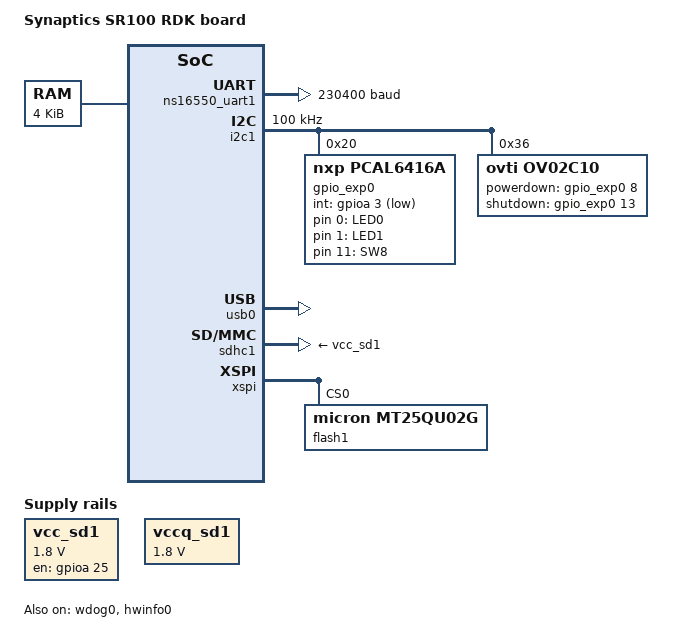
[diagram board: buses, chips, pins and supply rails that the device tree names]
/*
 * Copyright (c) 2025 Synaptics Incorporated
 *
 * SPDX-License-Identifier: Apache-2.0
 */

/dts-v1/;
#include <syna/astra_sr/sr100_m55.dtsi>
#include <syna/astra_sr/sr100_pinctrl.dtsi>
#include <zephyr/dt-bindings/gpio/gpio.h>
#include <zephyr/dt-bindings/input/input-event-codes.h>

/ {
	model = "Synaptics SR100 RDK board";
	compatible = "syna,sr100-rdk";

	chosen {
		zephyr,console = &ns16550_uart1;
		zephyr,shell-uart = &ns16550_uart1;
		zephyr,sram = &sram0;
		zephyr,flash = &itcm0;
		zephyr,flash-controller = &xspi;
		zephyr,code-partition = &itcm0;
	};

	aliases {
		led0 = &led0;
		led-controller-0 = &led_controller_0;
		sw0 = &user_button;
		sdhc1 = &sdhc1;
	};

	led_controller_0: gpio-leds {
		compatible = "gpio-leds";

		led0: led_0 {
			gpios = <&gpio_exp0 0 GPIO_ACTIVE_HIGH>;
			label = "LED0";
		};

		led1: led_1 {
			gpios = <&gpio_exp0 1 GPIO_ACTIVE_HIGH>;
			label = "LED1";
		};
	};

	buttons: keys {
		compatible = "gpio-keys";

		user_button: user_button {
			label = "SW8";
			gpios = <&gpio_exp0 11 GPIO_ACTIVE_HIGH>;
			zephyr,code = <INPUT_KEY_0>;
		};
	};

	vcc_sd1: regulator-vcc-sd1 {
		compatible = "regulator-fixed";

		regulator-name = "SD1 Vcc";
		regulator-min-microvolt = <1800000>;
		regulator-max-microvolt = <1800000>;

		enable-gpios = <&gpioa 25 GPIO_ACTIVE_HIGH
				&gpio_exp0 7 GPIO_ACTIVE_HIGH>;
	};

	vccq_sd1: regulator-vccq-sd1 {
		compatible = "regulator-fixed";

		regulator-name = "SD1 VccQ";
		regulator-min-microvolt = <1800000>;
		regulator-max-microvolt = <1800000>;
	};

	video_syna0: video_syna {
		compatible = "syna,mipi-video";
		status = "okay";
		interrupt-parent = <&nvic>;
		interrupts = <45 3>;
		clocks = <&gcr SYNA_IMG_SYS_CLK>;

		datapath = <1>;
		num-lanes = <1>;
		interface-width = <0>; /* 0=48-bit, 1=16-bit */

		port {
			video_syna0_in: endpoint {
				remote-endpoint-label = "ov02c10_out";
			};
		};
	};

	ipc_memory: memory@3416f000 { /* End of LP_MEMB area */
		compatible = "zephyr,memory-region";
		reg = <0x3416f000 0x1000>;
		#address-cells = <1>;
		#size-cells = <1>;
		ranges = <0x0 0x3416f000 0x1000>;
		zephyr,memory-region = "IPC";
		zephyr,memory-attr = <DT_MEM_ARM_MPU_RAM_NOCACHE>;
	};

	mbox-consumer {
		compatible = "vnd,mbox-consumer";
		mboxes = <&ipc0 1>, <&ipc0 0>;
		mbox-names = "tx", "rx";
	};
};

&ns16550_uart0 {
	pinctrl-0 = <&uart0_tx_b &uart0_rx_b>;
	pinctrl-names = "default";
	current-speed = <115200>;
	dlf = <2>;
	status = "disabled";
};

&ns16550_uart1 {
	pinctrl-0 = <&uart1_tx_a &uart1_rx_a>;
	pinctrl-names = "default";
	current-speed = <230400>;
	dlf = <2>;
	status = "okay";
};

&i2c1_ms_scl_b {
	bias-pull-up;
};

&i2c1_ms_sda_b {
	bias-pull-up;
};

&i2c1 {
	status = "okay";
	pinctrl-0 = <&i2c1_ms_scl_b &i2c1_ms_sda_b>;
	pinctrl-names = "default";
	clock-frequency = <I2C_BITRATE_STANDARD>;

	gpio_exp0: pca6416@20 {
		compatible = "nxp,pcal6416a";
		reg = <0x20>;
		gpio-controller;
		#gpio-cells = <2>;
		ngpios = <16>;
		int-gpios = <&gpioa 3 GPIO_ACTIVE_LOW>;
	};

	ov02c10: ov02c10@36 {
		compatible = "ovti,ov02c10";
		reg = <0x36>;
		status = "okay";

		pinctrl-0 = <&clkout_0>;
		pinctrl-names = "default";

		/* Camera sensor power and shutdown controls. */
		powerdown-gpios = <&gpio_exp0 8 GPIO_ACTIVE_HIGH>;
		shutdown-gpios = <&gpio_exp0 13 GPIO_ACTIVE_HIGH>;

		mclk-control-reg = <0x50330044>;
		mclk-control-val = <0x0000000b>;

		port {
			ov02c10_out: endpoint {
				remote-endpoint-label = "video_syna0_in";
			};
		};

		data-lanes = <1>;
	};

	mc3479: mc3419@4c {
		compatible = "memsic,mc3419";
		status = "disabled";
		reg = <0x4c>;
		int-gpios = <&gpio_exp0 4 0>;
		lpf-fc-sel = <0>;
	};
};

&spi0 {
	/* Note that the default pinmux configuration for this board uses GP23/GP24
	 * for UART1_TX/UART1_RX respectively, which conflicts with the
	 * spi_mstr_mosi/spi_mstr_miso muxes.
	 */
	pinctrl-0 = <&spi_mstr_mosi &spi_mstr_miso &spi_mstr_clk &spi_mstr_cs>;
	pinctrl-names = "default";
	status = "disabled";
};

&gpioa {
	status = "okay";
};

&gpiob {
	status = "okay";
};

zephyr_udc0: &usb0 {
	status = "okay";
};

&aon_event_gpio {
	pinctrl-0 = <&aon_gpo1>;
	pinctrl-names = "default";
	status = "okay";
};

&gpo1 {
	polarity = <GPIO_ACTIVE_HIGH>;
};

&wdog0 {
	status = "okay";
};

&sdhc1 {
	pinctrl-0 = <&sd1_cmd &sd1_clk &sd1_d0 &sd1_d1 &sd1_d2 &sd1_d3 &gpio_25>;
	pinctrl-names = "default";
	vmmc-supply = <&vcc_sd1>;
	vmmcq-supply = <&vccq_sd1>;
	max-bus-freq = <25000000>;
	status = "okay";
};

&sd1_cmd {
	bias-disable;
};

&sd1_clk {
	bias-disable;
};

&sd1_d0 {
	bias-disable;
};

&sd1_d1 {
	bias-disable;
};

&sd1_d2 {
	bias-disable;
};

&sd1_d3 {
	bias-disable;
};

&xspi {
	status = "okay";
	pinctrl-0 = <&xspi_data0 &xspi_data1 &xspi_data2 &xspi_data3 &xspi_dqs
		     &xspi_clk &xspi_clk_n &xspi_cs0>;
	pinctrl-names = "default";
	dmas = <&dma0 0>;

	flash1: mt25qu02g@0 {
		/* Gigadevice gd25lq128ewigr */
		compatible = "micron,mt25qu02g";
		reg = <0>;
		size = <DT_SIZE_M(128)>; /* in bits */
		status = "okay";
	};
};

&xspi_data0 {
	bias-pull-down;
	drive-strength = <3>;
};

&xspi_data1 {
	bias-pull-down;
	drive-strength = <3>;
};

&xspi_data2 {
	bias-pull-down;
	drive-strength = <3>;
};

&xspi_data3 {
	bias-pull-down;
	drive-strength = <3>;
};

&xspi_dqs {
	bias-pull-down;
	drive-strength = <3>;
};

&xspi_clk {
	bias-pull-down;
	drive-strength = <3>;
};

&xspi_clk_n {
	bias-pull-down;
	drive-strength = <3>;
};

&xspi_cs0 {
	bias-pull-down;
	drive-strength = <3>;
};

&hwinfo0 {
	status = "okay";
};

&dma0 {
	status = "okay";
};

&ipc0 {
	status = "okay";
	shared-memory = <&ipc_memory>;
	shared-memory-size = <0x8>; /* only valid size for mbox_data sample */
	#mbox-cells = <1>;
};
